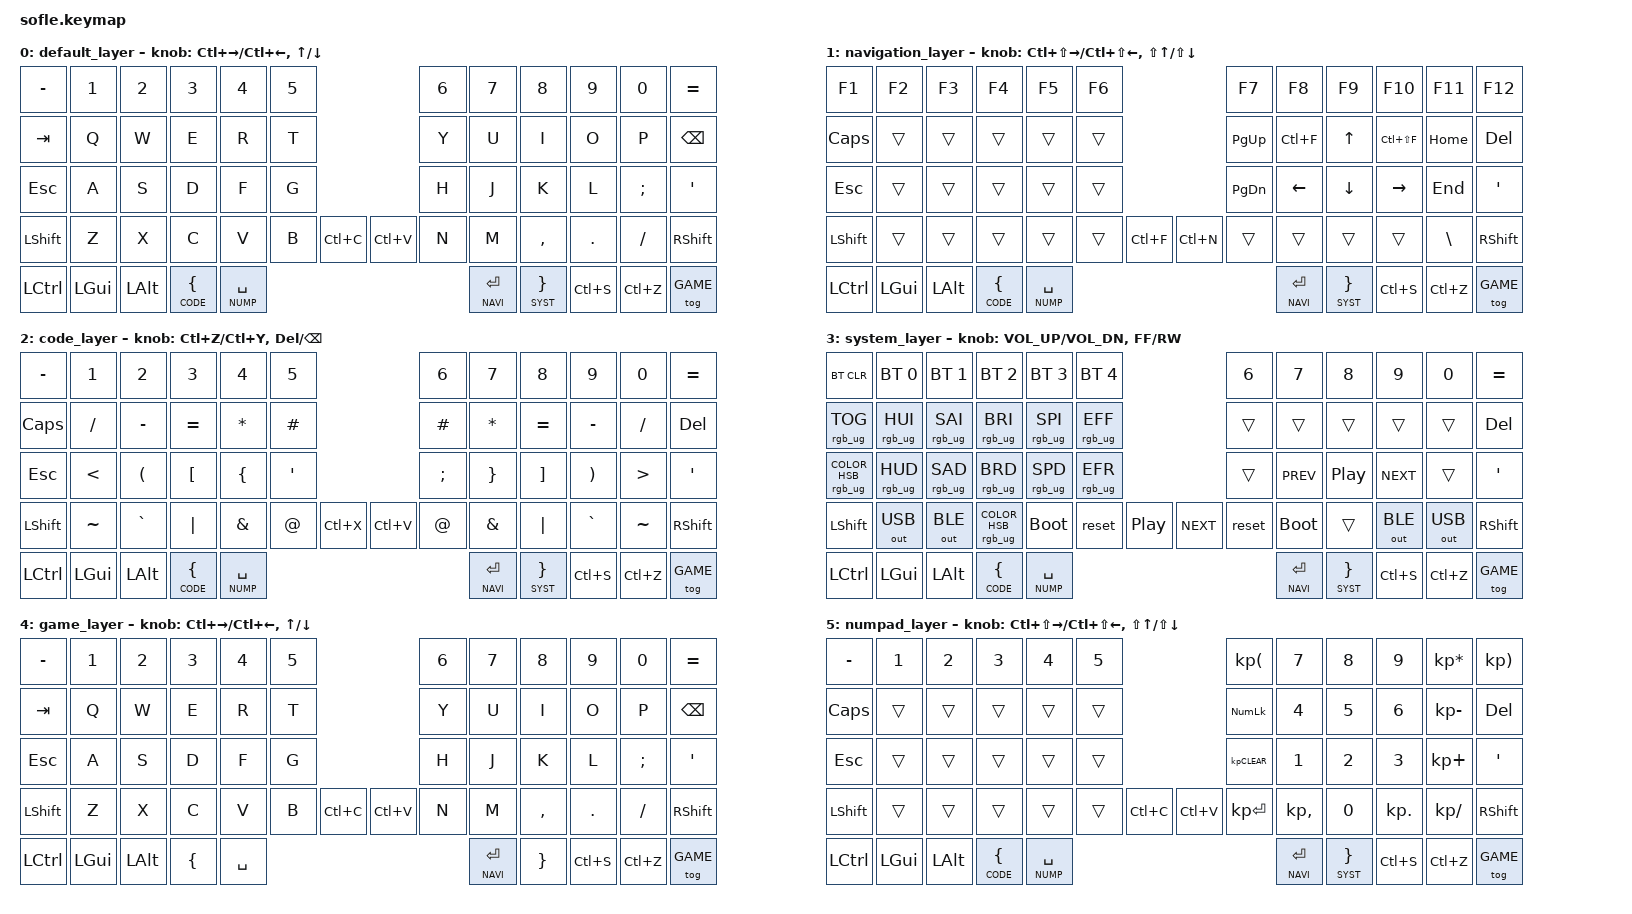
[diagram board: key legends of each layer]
/*
 * Copyright (c) 2020 The ZMK Contributors
 *
 * SPDX-License-Identifier: MIT
 */

#include <behaviors.dtsi>
#include <dt-bindings/zmk/keys.h>
#include <dt-bindings/zmk/bt.h>
#include <dt-bindings/zmk/rgb.h>
#include <dt-bindings/zmk/outputs.h>

//TODO: I want to have these RBG FLASH whenever entering a different layer. Waiting on ZMK updates
#define HOME 0
#define NAVI 1
#define CODE 2
#define SYST 3
#define GAME 4
#define NUMP 5

//UNDERGLOW RGB DEFINITION
&spi1 {
  compatible = "nordic,nrf-spim";
  status = "okay";
  mosi-pin = <6>;
  // Unused pins, needed for SPI definition, but not used by the ws2812 driver itself.
  sck-pin = <5>;
  miso-pin = <7>;

  led_strip: ws2812@0 {
    compatible = "worldsemi,ws2812-spi";
    label = "WS2812";

    /* SPI */
    reg = <0>; /* ignored, but necessary for SPI bindings */
    spi-max-frequency = <4000000>;

    /* WS2812 */
    chain-length = <10>; /* number of LEDs */
    spi-one-frame = <0x70>;
    spi-zero-frame = <0x40>;
  };
};


/ {
  keymap {
    compatible = "zmk,keymap";
    //home layer, used for pretty much all use cases
    default_layer {
      bindings = <
        &kp MINUS  &kp N1   &kp N2    &kp N3    &kp N4    &kp N5                     &kp N6    &kp N7    &kp N8    &kp N9    &kp N0    &kp EQUAL
        &kp TAB    &kp Q    &kp W     &kp E     &kp R     &kp T                      &kp Y     &kp U     &kp I     &kp O     &kp P     &kp BSPC
        &kp ESC    &kp A    &kp S     &kp D     &kp F     &kp G                      &kp H     &kp J     &kp K     &kp L     &kp SEMI  &kp SQT
        &kp LSHFT  &kp Z    &kp X     &kp C     &kp V     &kp B  &kp LC(C) &kp LC(V) &kp N     &kp M     &kp COMMA &kp DOT   &kp FSLH  &kp RSHFT
        &kp LCTRL  &kp LGUI  &kp LALT &lt CODE LBRC &lt NUMP SPACE                   &lt NAVI RET &lt SYST RBRC    &kp LC(S) &kp LC(Z) &tog GAME
      >;

      sensor-bindings = <
        &inc_dec_kp LC(RIGHT) LC(LEFT) 
        &inc_dec_kp UP DOWN
      >;
    };

    //nav layer, mapped on hold of right thumb. When ZMK gets timed presses, and I can add application launching, I'll do that here.
    navigation_layer {
      bindings = <
        &kp F1     &kp F2   &kp F3    &kp F4    &kp F5    &kp F6                     &kp F7    &kp F8    &kp F9    &kp F10       &kp F11   &kp F12
        &kp CAPS   &trans   &trans    &trans    &trans    &trans                     &kp PG_UP &kp LC(F) &kp UP    &kp LC(LS(F)) &kp HOME  &kp DEL
        &kp ESC    &trans   &trans    &trans    &trans    &trans                     &kp PG_DN &kp LEFT  &kp DOWN  &kp RIGHT     &kp END   &kp SQT
        &kp LSHFT  &trans   &trans    &trans    &trans    &trans &kp LC(F) &kp LC(N) &trans    &trans    &trans    &trans        &kp BSLH  &kp RSHFT
        &kp LCTRL  &kp LGUI  &kp LALT &lt CODE LBRC &lt NUMP SPACE                   &lt NAVI RET &lt SYST RBRC    &kp LC(S)     &kp LC(Z) &tog GAME
      >;

      sensor-bindings = <
        &inc_dec_kp LC(LS(RIGHT)) LC(LS(LEFT)) 
        &inc_dec_kp LS(UP) LS(DOWN)
      >;
    };

    //code layer, mapped on hold of left, left thumb key. commonly needed symbols with reduced finger travel. When ZMK gets macros, they'll go here for coding.
    code_layer {
      bindings = <
        &kp MINUS  &kp N1    &kp N2    &kp N3    &kp N4    &kp N5                     &kp N6    &kp N7    &kp N8    &kp N9    &kp N0    &kp EQUAL
        &kp CAPS   &kp SLASH &kp MINUS &kp EQUAL &kp STAR  &kp HASH                   &kp HASH  &kp STAR  &kp EQUAL &kp MINUS &kp SLASH &kp DEL
        &kp ESC    &kp LT    &kp LPAR  &kp LBKT  &kp LBRC  &kp SQT                    &kp SEMI  &kp RBRC  &kp RBKT  &kp RPAR  &kp GT    &kp SQT
        &kp LSHFT  &kp TILDE &kp GRAVE &kp PIPE  &kp AMPS  &kp AT &kp LC(X) &kp LC(V) &kp AT    &kp AMPS  &kp PIPE  &kp GRAVE &kp TILDE &kp RSHFT
        &kp LCTRL  &kp LGUI  &kp LALT &lt CODE LBRC &lt NUMP SPACE                    &lt NAVI RET &lt SYST RBRC    &kp LC(S) &kp LC(Z) &tog GAME
      >;

      sensor-bindings = <
        &inc_dec_kp LC(Z) LC(Y) 
        &inc_dec_kp DEL BSPC
      >;
    };

    //System layer - used to manage the keyboard hardware and media controls of the computer. Playing around with some colors that I like.
    system_layer {
      bindings = <
        &bt BT_CLR                          &bt BT_SEL 0    &bt BT_SEL 1    &bt BT_SEL 2                  &bt BT_SEL 3    &bt BT_SEL 4                        &kp N6  &kp N7      &kp N8        &kp N9       &kp N0       &kp EQUAL
        &rgb_ug RGB_TOG                     &rgb_ug RGB_HUI &rgb_ug RGB_SAI &rgb_ug RGB_BRI               &rgb_ug RGB_SPI &rgb_ug RGB_EFF                     &trans  &trans      &trans        &trans       &trans       &kp DEL
        &rgb_ug RGB_COLOR_HSB(255, 179, 25) &rgb_ug RGB_HUD &rgb_ug RGB_SAD &rgb_ug RGB_BRD               &rgb_ug RGB_SPD &rgb_ug RGB_EFR                     &trans  &kp C_PREV  &kp C_PP      &kp C_NEXT   &trans       &kp SQT
        &kp LSHFT                           &out OUT_USB    &out OUT_BLE    &rgb_ug RGB_COLOR_HSB(102, 230, 255) &bootloader     &reset          &kp C_PP &kp C_NEXT &reset  &bootloader &trans        &out OUT_BLE &out OUT_USB &kp RSHFT
        &kp LCTRL                           &kp LGUI        &kp LALT        &lt CODE LBRC                 &lt NUMP SPACE                                      &lt NAVI RET        &lt SYST RBRC &kp LC(S)    &kp LC(Z)    &tog GAME
      >;

      sensor-bindings = <
        &inc_dec_kp C_VOL_UP C_VOL_DN 
        &inc_dec_kp C_FF C_RW
      >;
    };

    //removes layer toggles to better allow gaming.
    game_layer {
      bindings = <
        &kp MINUS  &kp N1   &kp N2    &kp N3    &kp N4    &kp N5                     &kp N6    &kp N7    &kp N8    &kp N9    &kp N0    &kp EQUAL
        &kp TAB    &kp Q    &kp W     &kp E     &kp R     &kp T                      &kp Y     &kp U     &kp I     &kp O     &kp P     &kp BSPC
        &kp ESC    &kp A    &kp S     &kp D     &kp F     &kp G                      &kp H     &kp J     &kp K     &kp L     &kp SEMI  &kp SQT
        &kp LSHFT  &kp Z    &kp X     &kp C     &kp V     &kp B  &kp LC(C) &kp LC(V) &kp N     &kp M     &kp COMMA &kp DOT   &kp FSLH  &kp RSHFT
        &kp LCTRL  &kp LGUI  &kp LALT &kp LBRC  &kp SPACE                            &lt NAVI RET        &kp RBRC  &kp LC(S) &kp LC(Z) &tog GAME
      >;

      sensor-bindings = <
        &inc_dec_kp LC(RIGHT) LC(LEFT) 
        &inc_dec_kp UP DOWN
      >;
    };

    //Adds a numpad under the right hand while held.
    numpad_layer {
      bindings = <
        &kp MINUS  &kp N1   &kp N2    &kp N3    &kp N4    &kp N5                     &kp KP_LPAR  &kp N7       &kp N8    &kp N9     &kp KP_MULTIPLY &kp KP_RPAR
        &kp CAPS   &trans   &trans    &trans    &trans    &trans                     &kp KP_NUM   &kp N4       &kp N5    &kp N6     &kp KP_MINUS    &kp DEL
        &kp ESC    &trans   &trans    &trans    &trans    &trans                     &kp KP_CLEAR &kp N1       &kp N2    &kp N3     &kp KP_PLUS     &kp SQT
        &kp LSHFT  &trans   &trans    &trans    &trans    &trans &kp LC(C) &kp LC(V) &kp KP_ENTER &kp KP_COMMA &kp N0    &kp KP_DOT &kp KP_DIVIDE   &kp RSHFT
        &kp LCTRL  &kp LGUI  &kp LALT &lt CODE LBRC &lt NUMP SPACE                   &lt NAVI RET &lt SYST RBRC    &kp LC(S) &kp LC(Z) &tog GAME
      >;

      sensor-bindings = <
        &inc_dec_kp LC(LS(RIGHT)) LC(LS(LEFT)) 
        &inc_dec_kp LS(UP) LS(DOWN)
      >;
    };
  };
};

/ {
  chosen {
    zmk,underglow = &led_strip;
  };
};
